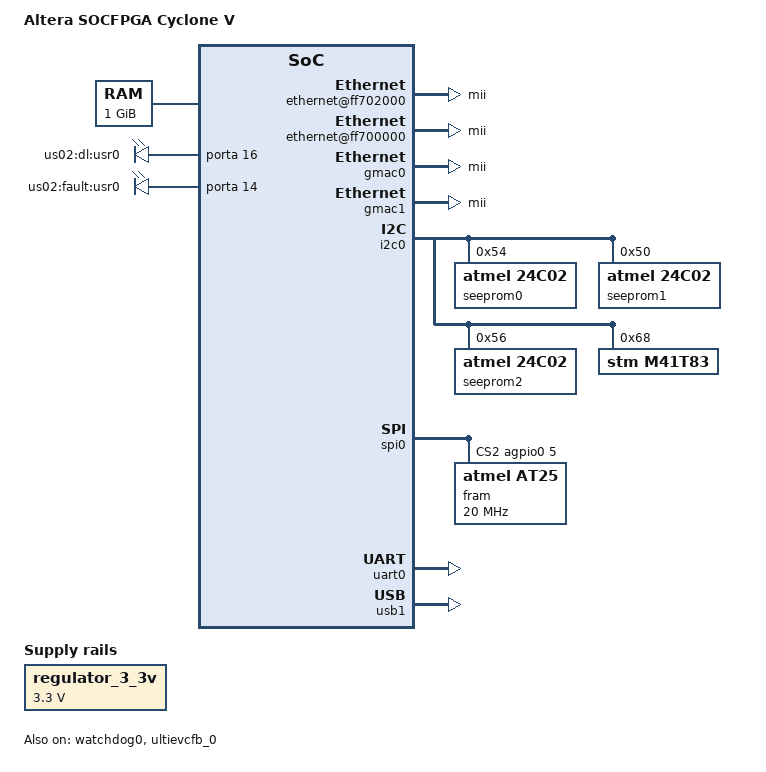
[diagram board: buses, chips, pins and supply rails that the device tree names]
/*
 * Copyright Altera Corporation (C) 2015. All rights reserved.
 *
 * This program is free software; you can redistribute it and/or modify
 * it under the terms and conditions of the GNU General Public License,
 * version 2, as published by the Free Software Foundation.
 *
 * This program is distributed in the hope it will be useful, but WITHOUT
 * ANY WARRANTY; without even the implied warranty of MERCHANTABILITY or
 * FITNESS FOR A PARTICULAR PURPOSE.  See the GNU General Public License for
 * more details.
 *
 * You should have received a copy of the GNU General Public License along with
 * this program.  If not, see <http://www.gnu.org/licenses/>.
 */

/dts-v1/;
/* First 4KB has trampoline code for secondary cores. */
/memreserve/ 0x00000000 0x0001000;
#include "socfpga.dtsi"

/ {
	soc {
		clkmgr@ffd04000 {
			clocks {
				osc1 {
					clock-frequency = <25000000>;
				};
			};
		};

		emmc: dwmmc0@ff704000 {
			num-slots = <1>;
			broken-cd;
			bus-width = <8>;
			cap-mmc-highspeed;
			cap-sd-highspeed;
		};

		sysmgr@ffd08000 {
			cpu1-start-addr = <0xffd080c4>;
		};
	};
};

&watchdog0 {
	status = "okay";
};


/ {
	model = "Altera SOCFPGA Cyclone V";
	compatible = "altr,socfpga-cyclone5", "altr,socfpga";

	chosen {
		bootargs = "console=ttyS0,57600 hw_dispid=45";
	};

	memory {
		name = "memory";
		device_type = "memory";
		reg = <0x0 0x40000000>; /* 1GB */
	};

	aliases {
		ethernet0 = &gmac0;
		ethernet1 = &gmac1;
		mmc0 = &ulti_sdc_0;
		mmc1 = &emmc;
	};

	regulator_3_3v: 3-3-v-regulator {
		compatible = "regulator-fixed";
		regulator-name = "3.3V";
		regulator-min-microvolt = <3300000>;
		regulator-max-microvolt = <3300000>;
	};

	ulti_sdc_0: ulti_sdc@0xFF230000 {
		compatible = "EXOR,ulti_sdc-13.1", "EXOR,ulti_sdc-1.0", "exor,ulti_sdc-1.0", "sdhci-ultimmc";
		reg = < 0xFF230000 0x0000ffff >;
		interrupt-parent = <&intc>;
		interrupts = < 0 43 4 >;
	}; //end ulti_sdc@0x100030000 (ulti_sdc_0)

	ultievcfb_0: ultievcfb@0xff200000 {
	  compatible = "exor,ultievcfb";
	  reg = <0xff200000 0x00000fff>;
	  status = "okay";
	};
	
	ethernet@ff702000 {
		phy-mode = "mii";
		phy-addr = <0x01>;
		status = "okay";
		reset0 = <&agpio0 0 0>;
		reset1 = <&agpio0 1 0>;
	};

	ethernet@ff700000 {
		phy-mode = "mii";
		phy-addr = <0x00>;
		status = "okay";
	};
		
	agpio0: gpio@0xff210010 {
		compatible = "altr,pio-1.0";
		reg = <0xff210010 0x10>;
		interrupts = <0 44 4>;
		width=<32>;
		altr,interrupt_type = < 4 >;
		#gpio-cells = <2>;
		gpio-controller;
		#interrupt-cells = <1>;
		interrupt-controller;
	};	

	leds { 
		compatible = "gpio-leds";
		status = "okay";

		led@1 {
			label = "us02:dl:usr0";
			gpios = <&porta 16 0>;
			default-state = "on";
		};

		led@2 {
			label = "us02:fault:usr0";
			gpios = <&porta 14 0>;
			default-state = "off";
		};
	};
};

&gmac0 {
	phy-mode = "mii";
	snps,phy-addr = <0x00>;
	status = "okay";
};

&gmac1 {
	phy-mode = "mii";
	snps,phy-addr = <0x01>;
	rxd0-skew-ps = <0>;
	rxd0-skew-ps = <0>;
	rxd1-skew-ps = <0>;
	rxd2-skew-ps = <0>;
	rxd3-skew-ps = <0>;
	txen-skew-ps = <0>;
	txc-skew-ps = <2600>;
	rxdv-skew-ps = <0>;
	rxc-skew-ps = <2000>;
	snps,max-mtu = <3800>;
	status = "okay";
};

&gpio0 {
	status = "okay";
};

&gpio1 {
	status = "okay";
};

&gpio2 {
	status = "okay";
};

&i2c0 {
	status = "okay";
	speed-mode = <0>;

	seeprom0:seeprom0@54 {
		compatible = "atmel,24c02";
		reg = <0x54>;
	};

	seeprom1:seeprom1@50 {
		compatible = "atmel,24c02";
		reg = <0x50>;
	};

	seeprom2:seeprom1@56 {
		compatible = "atmel,24c02";
		reg = <0x56>;
	};
	
	m41t83:m41t83@68 {
		compatible = "stm,m41t83";
		reg = <0x68>;
	};
};

&spi0 {
	status = "okay";
	num-cs = <4>;
	bus-num = <0>;
	cs-gpios = <&agpio0 3 0>, <&agpio0 4 0>, <&agpio0 5 0>, <&agpio0 6 0>;
	fram: at25@2 {
		compatible = "atmel,at25", "st,m95256";
		reg = <2>;
		spi-max-frequency = <20000000>;
		pagesize = <64>;
		size = <65536>;
		address-width = <16>;
	};
};

&uart0 {
	status = "okay";
};

&usb1 {
	status = "okay";
}; 	

&emmc {
	vmmc-supply = <&regulator_3_3v>;
	vqmmc-supply = <&regulator_3_3v>;

	num-slots = <1>;
	supports-highspeed;
	broken-cd;
	altr,dw-mshc-ciu-div = <3>;
	altr,dw-mshc-sdr-timing = <0 3>;

	slot@0 {
		reg = <0>;
		bus-width = <8>;
	};
};

